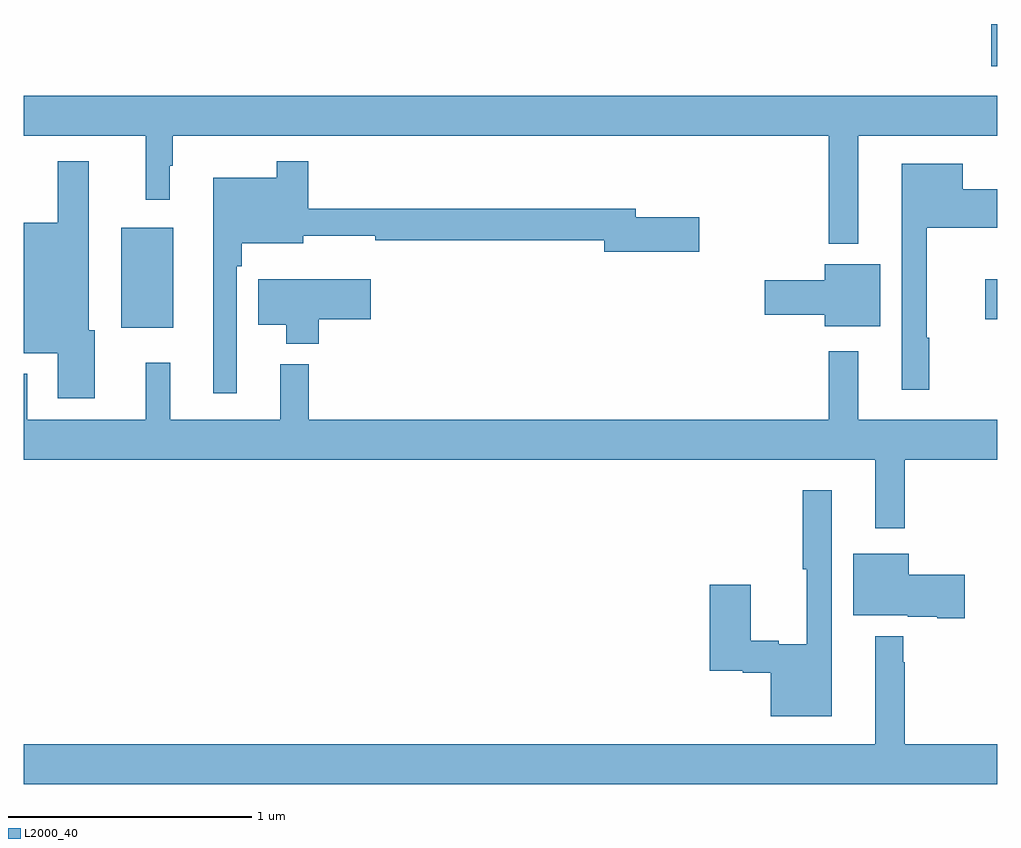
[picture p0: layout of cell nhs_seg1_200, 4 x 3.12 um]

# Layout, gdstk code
import gdstk
lib = gdstk.Library(unit=1e-6, precision=1e-09)
def R(c, l, rs):  # rectangles x0, y0, x1, y1
    for r in rs: c.add(gdstk.rectangle(r[:2], r[2:], *l))
def P(c, l, *ps):  # polygons
    for p in ps: c.add(gdstk.Polygon(p, *l))
L2000_40 = (2000, 40)

nhs_seg1_200 = lib.new_cell('nhs_seg1_200')
R(nhs_seg1_200, L2000_40, [(121.4,542.951,121.615,543.361), (124.95,542.986,125,543.151), (124.975,544.026,125,544.199)])
P(nhs_seg1_200, L2000_40, [(124.429,543.74),(125,543.74),(125,543.904),(121,543.904),(121,543.74),(121.501,543.74),(121.501,543.477),(121.6,543.477),(121.6,543.617),(121.612,543.617),(121.612,543.74),(124.308,543.74),(124.308,543.296),(124.429,543.296)],
  [(121.875,543.203),(121.895,543.203),(121.895,543.299),(122.149,543.299),(122.149,543.329),(122.445,543.329),(122.445,543.31),(123.386,543.31),(123.386,543.263),(123.775,543.263),(123.775,543.405),(123.514,543.405),(123.514,543.439),(122.168,543.439),(122.168,543.634),(122.04,543.634),(122.04,543.568),(121.778,543.568),(121.778,542.682),(121.875,542.682)],
  [(121.291,542.94),(121.267,542.94),(121.267,543.634),(121.139,543.634),(121.139,543.382),(121,543.382),(121,542.847),(121.139,542.847),(121.139,542.661),(121.291,542.661)],
  [(124.721,542.909),(124.711,542.909),(124.711,543.362),(125,543.362),(125,543.52),(124.858,543.52),(124.858,543.625),(124.607,543.625),(124.607,542.697),(124.721,542.697)],
  [(124.519,543.211),(124.292,543.211),(124.292,543.146),(124.044,543.146),(124.044,543.004),(124.292,543.004),(124.292,542.957),(124.519,542.957)],
  [(122.213,542.986),(122.425,542.986),(122.425,543.151),(121.964,543.151),(121.964,542.963),(122.078,542.963),(122.078,542.885),(122.213,542.885)],
  [(124.621,542.408),(125,542.408),(125,542.572),(124.429,542.572),(124.429,542.854),(124.308,542.854),(124.308,542.572),(122.171,542.572),(122.171,542.8),(122.054,542.8),(122.054,542.572),(121.601,542.572),(121.601,542.806),(121.502,542.806),(121.502,542.572),(121.015,542.572),(121.015,542.762),(121,542.762),(121,542.408),(124.499,542.408),(124.499,542.127),(124.621,542.127)],
  [(124.321,542.284),(124.2,542.284),(124.2,541.959),(124.217,541.959),(124.217,541.651),(124.103,541.651),(124.103,541.664),(123.988,541.664),(123.988,541.894),(123.818,541.894),(123.818,541.541),(123.954,541.541),(123.954,541.534),(124.07,541.534),(124.07,541.355),(124.321,541.355)],
  [(124.867,541.935),(124.636,541.935),(124.636,542.023),(124.409,542.023),(124.409,541.769),(124.632,541.769),(124.632,541.763),(124.754,541.763),(124.754,541.757),(124.867,541.757)],
  [(125,541.24),(124.621,541.24),(124.621,541.577),(124.613,541.577),(124.613,541.684),(124.499,541.684),(124.499,541.24),(121,541.24),(121,541.076),(125,541.076)])

lib.write_gds('nhs_seg1_200.gds')
